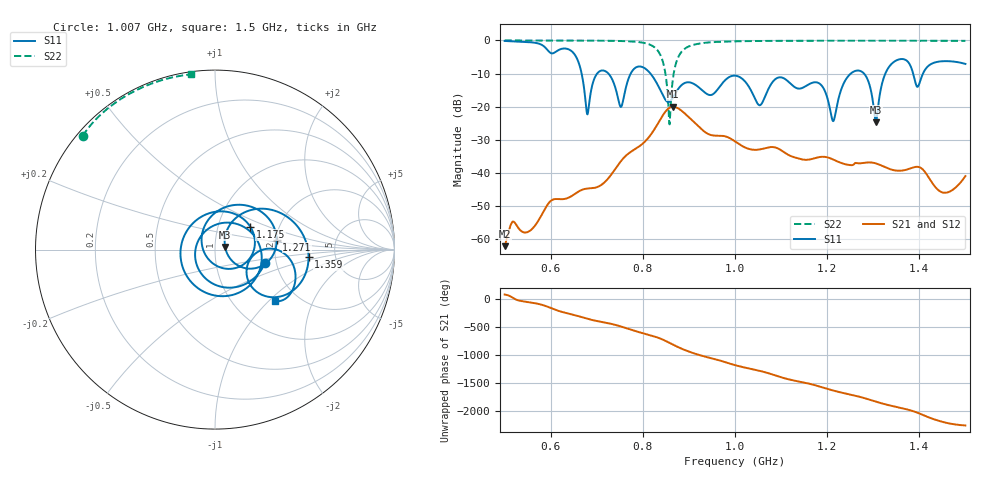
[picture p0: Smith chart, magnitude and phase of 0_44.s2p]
! TOUCHSTONE file generated by CST MICROWAVE STUDIO
! Date and time: Sat Oct 24 10:48:47 2020
! Project name: Scenario_1_Planar_Body_Tissue_Center.cst
! Parameters = {hfat=3; hmuscle=50; hskin=1.5; hgap=25; Wtissue=700; Ltissue=700; L_HA=400; MT=2.54; Rad_Dielectric=30; Rad_Lower=7.3; Rad_Upper=30; a_HA=580; a_WG=246; b_HA=500; b_WG=121; c_HA=0; c_WG=187; d_feed=85; dx1=917.76; h_feed=15; h_lower=18; h_upper=40}
! Header version: 2018
! Port assignment regex: !\s*Touchstone port\s*([0-9]+)\s*=\s*(CST MWS port|CST DS port)\s*([0-9]+|Zmin|Zmax)\s*\(\"(.*)\"\)(\s*mode\s*([0-9]+))?.*
! Touchstone port assignment:
! Touchstone port 1 = CST MWS port 1 ("")
! Touchstone port 2 = CST MWS port 2 ("")
# GHz S DB R 50
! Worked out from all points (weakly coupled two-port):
!   1003 points, 500 MHz to 1.5 GHz, reference 50 ohm
!   highest |S21| = -19.99 dB at 865 MHz (marker M1); lowest = -62.0 dB at 500 MHz (marker M2)
!   lowest |S11| = -24.7 dB at 1.306 GHz (marker M3), VSWR 1.12, Z = 55.9 + j1.7 ohm
!   |S11| at or under -10 dB: 725.3 MHz to 773.6 MHz (48.28 MHz wide, 6.44 % of centre); 816.6 MHz to 1.251 GHz (434.6 MHz wide, 42 % of centre); 1.28 GHz to 1.326 GHz (46.18 MHz wide, 3.54 % of centre) (the widest 3 of 5)
!   |S22| runs from -25.3 to 0.0 dB; largest |S21 - S12| = 6.1e-05
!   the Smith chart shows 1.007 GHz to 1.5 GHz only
!   S11 on the Smith chart (normalised r, x): 1.007 GHz: 1.73, -0.29; 1.175 GHz: 1.43, +0.38; 1.271 GHz: 2.03, +0.26; 1.359 GHz: 3.14, -0.37; 1.5 GHz: 1.53, -1.10
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0.5  -0.15 -122.4  -62.02 76.1  -62.02 76.1  -0.01 151.1
0.629  -2.44 169.5  -47.81 115.3  -47.81 115.3  -0.03 141.8
0.667  -9.89 100.5  -45.08 31.9  -45.08 31.9  -0.04 138.4
0.68  -22.28 147.6  -44.65 1.0  -44.65 1.0  -0.05 137.0
0.712  -9.05 145.2  -43.34 -56.1  -43.34 -56.1  -0.08 133.3
0.752  -20.05 -20.5  -36.48 -134.8  -36.48 -134.8  -0.17 127.1
0.783  -8.32 165.6  -32.77 143.7  -32.77 143.7  -0.39 119.3
0.834  -13.86 6.8  -24.74 20.7  -24.74 20.7  -3.39 83.6
0.857  -18.53 -113.1  -20.37 -65.1  -20.37 -65.1  -24.20 -15.7
0.865  -17.26 -162.1  -19.99 -98.9  -19.99 -98.9  -11.81 -139.9
0.899  -12.61 49.3  -23.04 138.3  -23.04 138.3  -1.84 168.7
1  -10.61 5.8  -30.43 -107.4  -30.43 -107.4  -0.27 140.2
1.007  -10.83 -15.5  -31.09 -122.8  -31.09 -122.8  -0.25 139.3
1.053  -19.53 160.9  -32.87 151.1  -32.87 151.1  -0.16 134.1
1.167  -12.80 56.5  -35.73 -92.4  -35.73 -92.4  -0.10 124.2
1.175  -12.61 32.5  -35.43 -110.1  -35.42 -110.1  -0.10 123.6
1.213  -24.33 -149.0  -35.89 158.0  -35.89 158.0  -0.09 120.6
1.271  -9.16 9.1  -37.05 44.5  -37.06 44.3  -0.09 116.3
1.306  -24.71 15.1  -37.08 -41.6  -37.08 -41.6  -0.08 113.6
1.334  -8.03 33.1  -38.69 -105.2  -38.69 -105.2  -0.09 111.5
1.359  -5.63 -4.6  -39.27 -152.2  -39.27 -152.2  -0.09 109.6
1.5  -7.08 -40.7  -40.89 -107.2  -40.89 -107.2  -0.13 97.9
